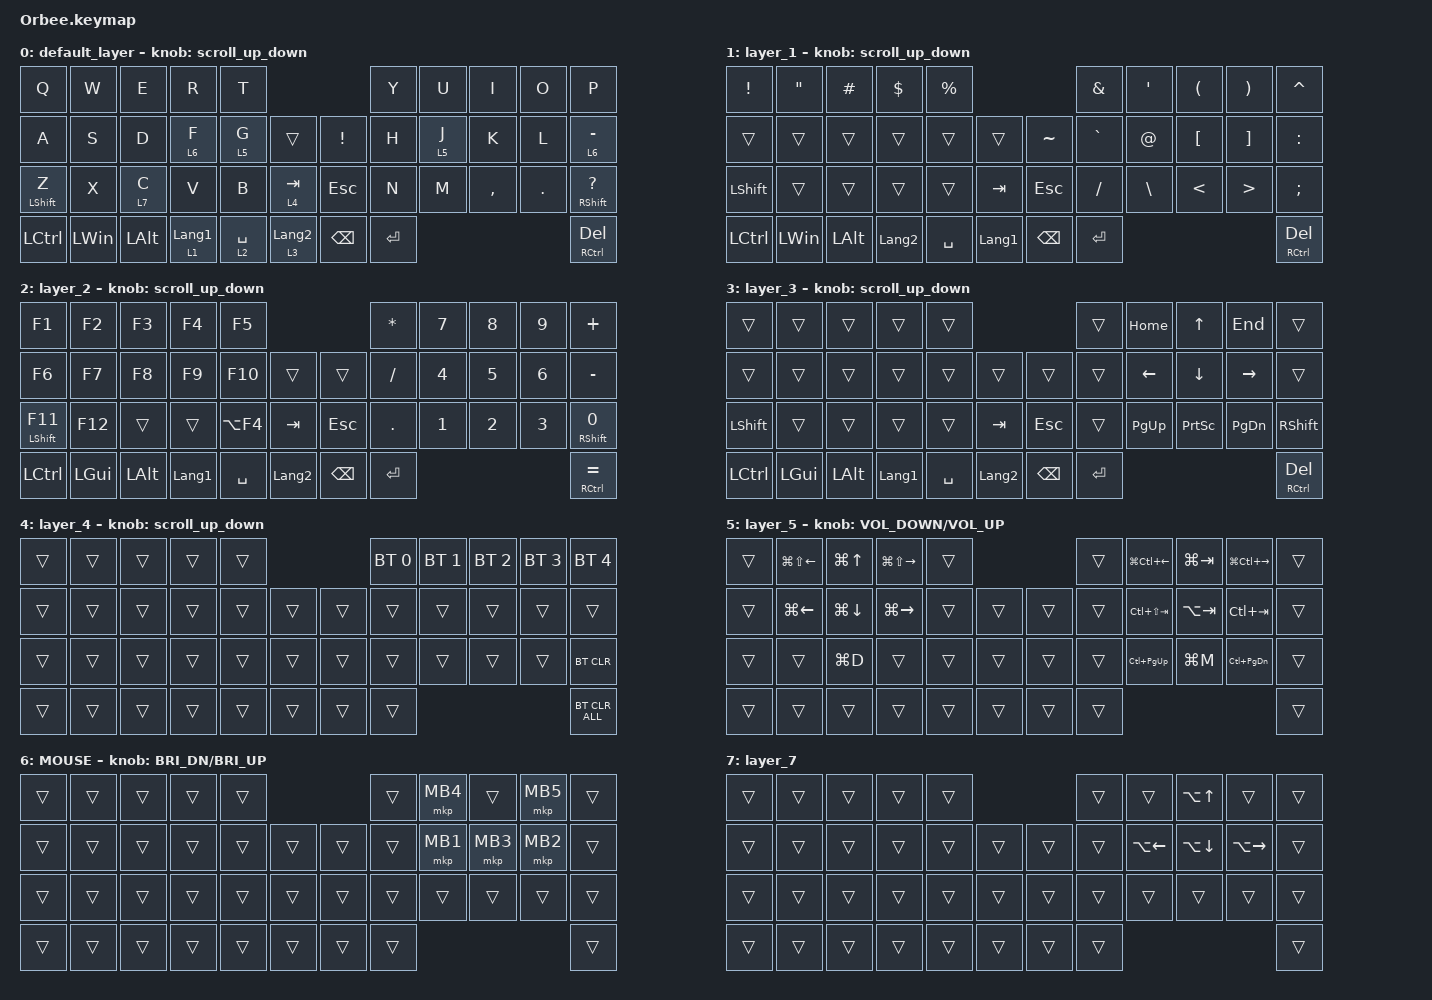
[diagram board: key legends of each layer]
#include <behaviors.dtsi>
#include <dt-bindings/zmk/bt.h>
#include <dt-bindings/zmk/keys.h>
#include <dt-bindings/zmk/pointing.h>

#define ZMK_POINTING_DEFAULT_SCRL_VAL 100
#define MOUSE 6

&mt {
    flavor = "balanced";
    quick-tap-ms = <0>;
};

/ {
    combos { compatible = "zmk,combos"; };

    macros {
        to_layer_0: to_layer_0 {
            compatible = "zmk,behavior-macro-one-param";
            #binding-cells = <1>;
            bindings = <&to 0 &macro_param_1to1 &kp MACRO_PLACEHOLDER>;
            label = "TO_LAYER_0";
        };
    };

    behaviors {
        touch_behavior_1: touch1 {
            compatible = "zmk,behavior-momentary";
            label = "TouchKey1";
            bindings = <&kp A>;
        };

        touch_behavior_2: touch2 {
            compatible = "zmk,behavior-momentary";
            label = "TouchKey2";
            bindings = <&kp B>;
        };

        touch_behavior_3: touch3 {
            compatible = "zmk,behavior-momentary";
            label = "TouchKey3";
            bindings = <&mo 1>;
        };

        lt_to_layer_0: lt_to_layer_0 {
            compatible = "zmk,behavior-hold-tap";
            label = "LAYER_TAP_TO_0";
            bindings = <&mo>, <&to_layer_0>;

            #binding-cells = <2>;
            tapping-term-ms = <200>;
        };

        scroll_up_down: behavior_sensor_rotate_mouse_wheel_up_down {
            compatible = "zmk,behavior-sensor-rotate";
            #sensor-binding-cells = <0>;
            bindings = <&msc SCRL_UP>, <&msc SCRL_DOWN>;

            tap-ms = <20>;
        };
    };

    keymap {
        compatible = "zmk,keymap";

        default_layer {
            bindings = <
&kp Q             &kp W         &kp E         &kp R             &kp T                                             &kp Y      &kp U    &kp I      &kp O    &kp P
&kp A             &kp S         &kp D         &lt 6 F           &lt 5 G      &trans              &kp EXCLAMATION  &kp H      &lt 5 J  &kp K      &kp L    &lt 6 MINUS
&mt LEFT_SHIFT Z  &kp X         &lt 7 C       &kp V             &kp B        &lt 4 TAB           &kp ESCAPE       &kp N      &kp M    &kp COMMA  &kp DOT  &mt RIGHT_SHIFT QUESTION
&kp LCTRL         &kp LEFT_WIN  &kp LEFT_ALT  &lt 1 LANGUAGE_1  &lt 2 SPACE  &lt 3 LANGUAGE_2    &kp BACKSPACE    &kp ENTER                               &mt RCTRL DELETE
            >;

            sensor-bindings = <&scroll_up_down>;
        };

        layer_1 {
            bindings = <
&kp EXCLAMATION  &kp DOUBLE_QUOTES  &kp HASH      &kp DOLLAR      &kp PERCENT                                   &kp AMPERSAND  &kp SINGLE_QUOTE  &kp LEFT_PARENTHESIS  &kp RIGHT_PARENTHESIS  &kp CARET
&trans           &trans             &trans        &trans          &trans       &trans            &kp TILDE      &kp GRAVE      &kp AT_SIGN       &kp LEFT_BRACKET      &kp RIGHT_BRACKET      &kp COLON
&kp LEFT_SHIFT   &trans             &trans        &trans          &trans       &kp TAB           &kp ESCAPE     &kp SLASH      &kp BACKSLASH     &kp LESS_THAN         &kp GREATER_THAN       &kp SEMICOLON
&kp LCTRL        &kp LEFT_WIN       &kp LEFT_ALT  &kp LANGUAGE_2  &kp SPACE    &kp LANGUAGE_1    &kp BACKSPACE  &kp ENTER                                                                     &mt RCTRL DELETE
            >;

            sensor-bindings = <&scroll_up_down>;
        };

        layer_2 {
            bindings = <
&kp F1              &kp F2    &kp F3    &kp F4          &kp F5                                    &kp ASTERISK  &kp N7  &kp N8  &kp N9  &kp PLUS
&kp F6              &kp F7    &kp F8    &kp F9          &kp F10     &trans            &trans      &kp FSLH      &kp N4  &kp N5  &kp N6  &kp MINUS
&mt LEFT_SHIFT F11  &kp F12   &trans    &trans          &kp LA(F4)  &kp TAB           &kp ESCAPE  &kp DOT       &kp N1  &kp N2  &kp N3  &mt RIGHT_SHIFT N0
&kp LCTRL           &kp LGUI  &kp LALT  &kp LANGUAGE_1  &kp SPACE   &kp LANGUAGE_2    &kp BSPC    &kp ENTER                             &mt RCTRL EQUAL
            >;

            sensor-bindings = <&scroll_up_down>;
        };

        layer_3 {
            bindings = <
&trans          &trans    &trans    &trans          &trans                                 &trans     &kp HOME     &kp UP     &kp END        &trans
&trans          &trans    &trans    &trans          &trans     &trans            &trans    &trans     &kp LEFT     &kp DOWN   &kp RIGHT      &trans
&kp LEFT_SHIFT  &trans    &trans    &trans          &trans     &kp TAB           &kp ESC   &trans     &kp PAGE_UP  &kp PSCRN  &kp PAGE_DOWN  &kp RIGHT_SHIFT
&kp LCTRL       &kp LGUI  &kp LALT  &kp LANGUAGE_1  &kp SPACE  &kp LANGUAGE_2    &kp BSPC  &kp ENTER                                         &mt RCTRL DELETE
            >;

            sensor-bindings = <&scroll_up_down>;
        };

        layer_4 {
            bindings = <
&trans  &trans  &trans  &trans  &trans                    &bt BT_SEL 0  &bt BT_SEL 1  &bt BT_SEL 2  &bt BT_SEL 3  &bt BT_SEL 4
&trans  &trans  &trans  &trans  &trans  &trans    &trans  &trans        &trans        &trans        &trans        &trans
&trans  &trans  &trans  &trans  &trans  &trans    &trans  &trans        &trans        &trans        &trans        &bt BT_CLR
&trans  &trans  &trans  &trans  &trans  &trans    &trans  &trans                                                  &bt BT_CLR_ALL
            >;

            sensor-bindings = <&scroll_up_down>;
        };

        layer_5 {
            bindings = <
&trans  &kp LG(LS(LEFT))  &kp LG(UP)    &kp LG(LS(RIGHT))  &trans                    &trans  &kp LG(LC(LEFT))  &kp LG(TAB)  &kp LG(LC(RIGHT))  &trans
&trans  &kp LG(LEFT)      &kp LG(DOWN)  &kp LG(RIGHT)      &trans  &trans    &trans  &trans  &kp LC(LS(TAB))   &kp LA(TAB)  &kp LC(TAB)        &trans
&trans  &trans            &kp LG(D)     &trans             &trans  &trans    &trans  &trans  &kp LC(PG_UP)     &kp LG(M)    &kp LC(PG_DN)      &trans
&trans  &trans            &trans        &trans             &trans  &trans    &trans  &trans                                                    &trans
            >;

            sensor-bindings = <&inc_dec_kp C_VOLUME_DOWN C_VOLUME_UP>;
        };

        MOUSE {
            bindings = <
&trans  &trans  &trans  &trans  &trans                    &trans  &mkp MB4  &trans    &mkp MB5  &trans
&trans  &trans  &trans  &trans  &trans  &trans    &trans  &trans  &mkp MB1  &mkp MB3  &mkp MB2  &trans
&trans  &trans  &trans  &trans  &trans  &trans    &trans  &trans  &trans    &trans    &trans    &trans
&trans  &trans  &trans  &trans  &trans  &trans    &trans  &trans                                &trans
            >;

            sensor-bindings = <&inc_dec_kp C_BRI_DN C_BRI_UP>;
        };

        layer_7 {
            bindings = <
&trans  &trans  &trans  &trans  &trans                    &trans  &trans        &kp LA(UP)    &trans         &trans
&trans  &trans  &trans  &trans  &trans  &trans    &trans  &trans  &kp LA(LEFT)  &kp LA(DOWN)  &kp LA(RIGHT)  &trans
&trans  &trans  &trans  &trans  &trans  &trans    &trans  &trans  &trans        &trans        &trans         &trans
&trans  &trans  &trans  &trans  &trans  &trans    &trans  &trans                                             &trans
            >;
        };
    };
};
